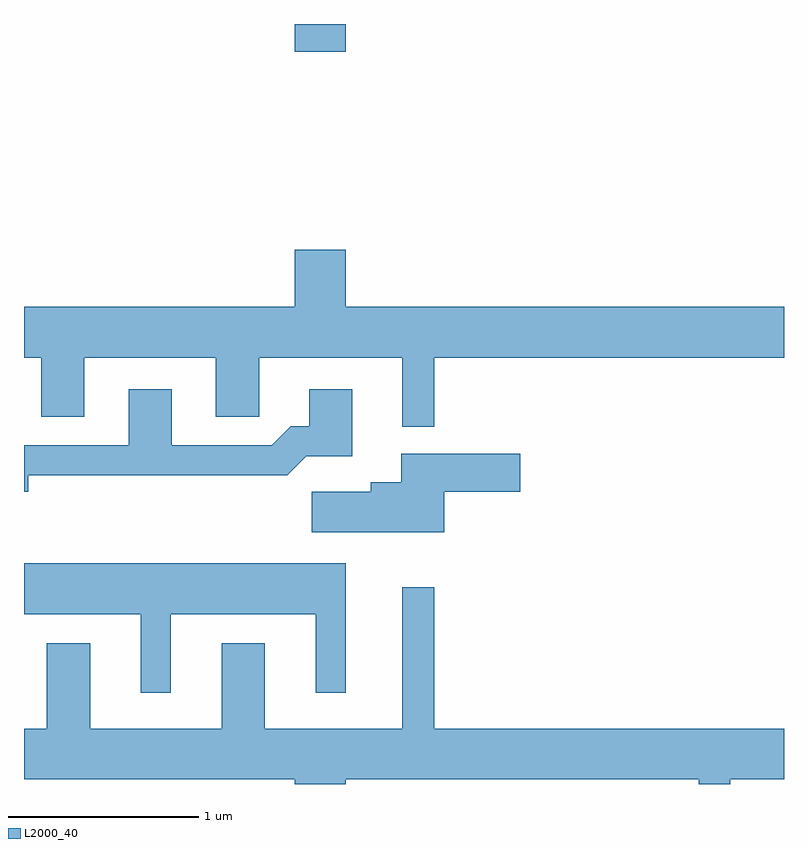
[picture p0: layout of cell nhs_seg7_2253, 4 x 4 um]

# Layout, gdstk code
import gdstk
lib = gdstk.Library(unit=1e-6, precision=1e-09)
def R(c, l, rs):  # rectangles x0, y0, x1, y1
    for r in rs: c.add(gdstk.rectangle(r[:2], r[2:], *l))
def P(c, l, *ps):  # polygons
    for p in ps: c.add(gdstk.Polygon(p, *l))
L2000_40 = (2000, 40)

nhs_seg7_2253 = lib.new_cell('nhs_seg7_2253')
R(nhs_seg7_2253, L2000_40, [(255.036,1758.106,255.304,1758.252)])
P(nhs_seg7_2253, L2000_40, [(255.769,1756.496),(257.611,1756.496),(257.611,1756.764),(255.304,1756.764),(255.304,1757.064),(255.036,1757.064),(255.036,1756.764),(253.611,1756.764),(253.611,1756.496),(253.701,1756.496),(253.701,1756.186),(253.929,1756.186),(253.929,1756.496),(254.621,1756.496),(254.621,1756.186),(254.849,1756.186),(254.849,1756.496),(255.601,1756.496),(255.601,1756.133),(255.769,1756.133)],
  [(253.634,1755.876),(254.997,1755.876),(255.097,1755.976),(255.339,1755.976),(255.339,1756.329),(255.111,1756.329),(255.111,1756.134),(255.014,1756.134),(254.914,1756.034),(254.389,1756.034),(254.389,1756.329),(254.161,1756.329),(254.161,1756.034),(253.611,1756.034),(253.611,1755.791),(253.634,1755.791)],
  [(255.824,1755.791),(256.224,1755.791),(256.224,1755.989),(255.596,1755.989),(255.596,1755.839),(255.436,1755.839),(255.436,1755.789),(255.126,1755.789),(255.126,1755.576),(255.824,1755.576)],
  [(254.384,1755.146),(255.146,1755.146),(255.146,1754.733),(255.304,1754.733),(255.304,1755.414),(253.611,1755.414),(253.611,1755.146),(254.226,1755.146),(254.226,1754.733),(254.384,1754.733)],
  [(255.304,1754.276),(257.161,1754.276),(257.161,1754.252),(257.329,1754.252),(257.329,1754.276),(257.611,1754.276),(257.611,1754.544),(255.769,1754.544),(255.769,1755.288),(255.601,1755.288),(255.601,1754.544),(254.879,1754.544),(254.879,1754.994),(254.651,1754.994),(254.651,1754.544),(253.959,1754.544),(253.959,1754.994),(253.731,1754.994),(253.731,1754.544),(253.611,1754.544),(253.611,1754.276),(255.036,1754.276),(255.036,1754.252),(255.304,1754.252)])

lib.write_gds('nhs_seg7_2253.gds')
